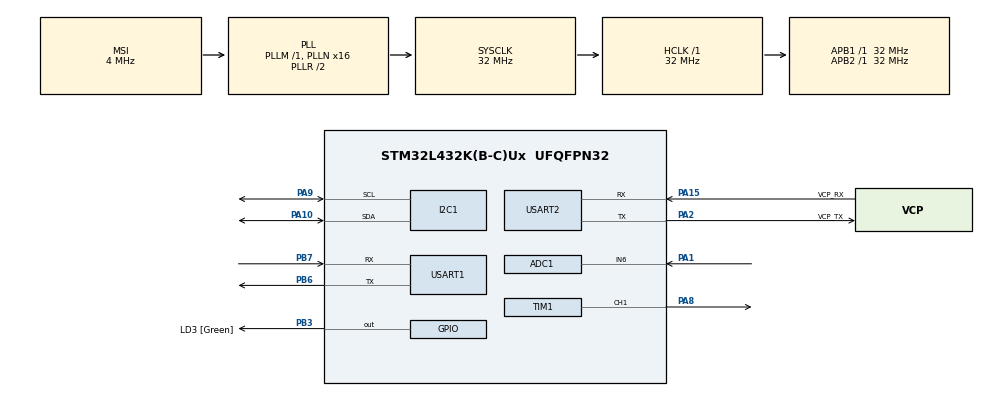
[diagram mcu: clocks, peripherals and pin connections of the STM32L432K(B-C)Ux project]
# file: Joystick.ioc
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ADC1.Channel-0\#ChannelRegularConversion=ADC_CHANNEL_6
ADC1.NbrOfConversionFlag=1
ADC1.OffsetNumber-0\#ChannelRegularConversion=ADC_OFFSET_NONE
ADC1.Rank-0\#ChannelRegularConversion=1
ADC1.SamplingTime-0\#ChannelRegularConversion=ADC_SAMPLETIME_2CYCLES_5
ADC1.master=1
Dma.Request0=USART1_RX
Dma.USART1_RX.0.Direction=DMA_PERIPH_TO_MEMORY
Dma.USART1_RX.0.Instance=DMA1_Channel5
Dma.USART1_RX.0.MemDataAlignment=DMA_MDATAALIGN_BYTE
Dma.USART1_RX.0.MemInc=DMA_MINC_ENABLE
Dma.USART1_RX.0.Mode=DMA_NORMAL
Dma.USART1_RX.0.PeriphDataAlignment=DMA_PDATAALIGN_BYTE
Dma.USART1_RX.0.PeriphInc=DMA_PINC_DISABLE
Dma.USART1_RX.0.Priority=DMA_PRIORITY_HIGH
I2C1.Timing=0x00B07CB4
Mcu.Family=STM32L4
Mcu.Name=STM32L432K(B-C)Ux
Mcu.Package=UFQFPN32
NVIC.DMA1_Channel5_IRQn=true\:0\:0\:false\:false\:true\:false\:true\:true
NVIC.PriorityGroup=NVIC_PRIORITYGROUP_4
NVIC.USART1_IRQn=true\:0\:0\:false\:false\:true\:true\:true\:true
PA0.GPIO_Label=MCO [High speed clock in]
PA0.Mode=HSE-External-Clock-Source-for-LittleOrca
PA0.Signal=RCC_CK_IN
PA1.Signal=ADCx_IN6
PA10.Mode=I2C
PA10.Signal=I2C1_SDA
PA13\ (JTMS-SWDIO).GPIO_Label=SWDIO
PA13\ (JTMS-SWDIO).Mode=Serial_Wire
PA13\ (JTMS-SWDIO).Signal=SYS_JTMS-SWDIO
PA14\ (JTCK-SWCLK).GPIO_Label=SWCLK
PA14\ (JTCK-SWCLK).Mode=Serial_Wire
PA14\ (JTCK-SWCLK).Signal=SYS_JTCK-SWCLK
PA15\ (JTDI).GPIO_Label=VCP_RX
PA15\ (JTDI).Mode=Asynchronous
PA15\ (JTDI).Signal=USART2_RX
PA2.GPIO_Label=VCP_TX
PA2.Mode=Asynchronous
PA2.Signal=USART2_TX
PA8.Signal=S_TIM1_CH1
PA9.Mode=I2C
PA9.Signal=I2C1_SCL
PB3\ (JTDO-TRACESWO).GPIO_Label=LD3 [Green]
PB3\ (JTDO-TRACESWO).Signal=GPIO_Output
PB6.Mode=Asynchronous
PB6.Signal=USART1_TX
PB7.Mode=Asynchronous
PB7.Signal=USART1_RX
PC14-OSC32_IN\ (PC14).Mode=LSE-External-Oscillator
PC14-OSC32_IN\ (PC14).Signal=RCC_OSC32_IN
PC15-OSC32_OUT\ (PC15).Mode=LSE-External-Oscillator
PC15-OSC32_OUT\ (PC15).Signal=RCC_OSC32_OUT
ProjectManager.HeapSize=0x200
ProjectManager.StackSize=0x400
ProjectManager.TargetToolchain=STM32CubeIDE
RCC.ADCFreq_Value=64000000
RCC.AHBFreq_Value=32000000
RCC.APB1Freq_Value=32000000
RCC.APB1TimFreq_Value=32000000
RCC.APB2Freq_Value=32000000
RCC.APB2TimFreq_Value=32000000
RCC.CortexFreq_Value=32000000
RCC.HCLKFreq_Value=32000000
RCC.HSE_VALUE=8000000
RCC.HSI16_VALUE=16000000
RCC.HSI48_VALUE=48000000
RCC.HSI_VALUE=16000000
RCC.MSI_VALUE=4000000
RCC.PLLMUL=RCC_PLLMUL_4
RCC.PLLN=16
RCC.PLLSAI1N=32
RCC.SYSCLKFreq_VALUE=32000000
RCC.SYSCLKSource=RCC_SYSCLKSOURCE_PLLCLK
RCC.USBFreq_Value=64000000
RCC.VCOOutputFreq_Value=64000000
SH.ADCx_IN6.0=ADC1_IN6,IN6-Single-Ended
SH.S_TIM1_CH1.0=TIM1_CH1,PWM Generation1 CH1
TIM1.Channel-PWM\ Generation1\ CH1=TIM_CHANNEL_1
TIM1.Period=1000
TIM1.Prescaler=84
USART1.VirtualMode-Asynchronous=VM_ASYNC
USART2.VirtualMode-Asynchronous=VM_ASYNC
board=NUCLEO-L432KC

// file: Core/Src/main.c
/* USER CODE BEGIN Header */
/**
 ******************************************************************************
 * @file           : main.c
 * @brief          : Main program body
 ******************************************************************************
 * @attention
 *
 * Copyright (c) 2025 STMicroelectronics.
 * All rights reserved.
 *
 * This software is licensed under terms that can be found in the LICENSE file
 * in the root directory of this software component.
 * If no LICENSE file comes with this software, it is provided AS-IS.
 *
 ******************************************************************************
 */
/* USER CODE END Header */
#include "main.h"

/* USER CODE BEGIN Includes */
#include <stdio.h>
#include <string.h>
#include <stdlib.h>
#include "ssd1306.h"
#include "math.h"
/* USER CODE END Includes */

/* USER CODE BEGIN PD */
#ifdef SSD1306_INCLUDE_FONT_11x18
extern const SSD1306_Font_t Font_11x18;
#endif

#ifdef SSD1306_INCLUDE_FONT_7x10
extern const SSD1306_Font_t Font_7x10;
#endif

#ifdef SSD1306_INCLUDE_FONT_6x8
extern const SSD1306_Font_t Font_6x8;
#endif

#define IMU_CTRL_REG1_A 	0x20 /*IMU control register address*/
#define IMU_OUT_X_L_A		0x28 /*IMU X-axis acceleration data*/
#define IMU_I2C_ADDR_R 		0x33 /*8 bit IMU device I2C read address*/
#define IMU_I2C_ADDR_W		0x32 /*8 bit IMU device I2C write address*/
#define IMU_I2C_ADDR		0x19 /*7 bit IMU device I2C address*/

#define	PI					3.14
#define FILTER_SIZE			5
#define RX_BUFFER_SIZE		6
/* USER CODE END PD */

ADC_HandleTypeDef hadc1;

I2C_HandleTypeDef hi2c1;

TIM_HandleTypeDef htim1;

UART_HandleTypeDef huart1;
UART_HandleTypeDef huart2;
DMA_HandleTypeDef hdma_usart1_rx;

/* USER CODE BEGIN PV */

HAL_StatusTypeDef ret;
uint8_t Rx_Buffer[RX_BUFFER_SIZE];

typedef struct {
	uint8_t acc_raw[6];
	int16_t ax_raw;
	int16_t ay_raw;
	int16_t az_raw;
	float ax;
	float ay;
	float az;
} IMU_data;

typedef struct {
	float roll;
	float pitch;
} Orientation;

typedef struct {
	float buffer[FILTER_SIZE];
	uint8_t index;
	float sum;
} MovingAverage;

int vol = 0;

/* USER CODE END PV */

void SystemClock_Config(void);
static void MX_GPIO_Init(void);
static void MX_DMA_Init(void);
static void MX_USART2_UART_Init(void);
static void MX_ADC1_Init(void);
static void MX_I2C1_Init(void);
static void MX_USART1_UART_Init(void);
static void MX_TIM1_Init(void);
/* USER CODE BEGIN PFP */
void IMU_Init();
void read_IMU(IMU_data *data);
void read_FSR(uint32_t *data);
void BT_Transmit(char *str);
Orientation get_Orientation(IMU_data data);
uint8_t get_Stop(uint32_t data);
void Display_screen(int fpitch, int froll, uint8_t stop);
void MovingAverage_Init(MovingAverage *filter);
int MovingAverage_Update(MovingAverage *filter, float new_value);
/* USER CODE END PFP */

/* USER CODE BEGIN 0 */

// Callback function of UART interrupt
// MODIFIES: pitch, roll, state
// BT message format: P<ppp>,R<rrr>,S<s>
// where each p, r, and s is one digit in ASCII
// the first digit of pitch and roll indicates plus or minus, '1' for negative values
void HAL_UART_RxCpltCallback(UART_HandleTypeDef *huart) {
	//HAL_UART_DMAPause(huart);
	if (huart->Instance == USART1) {
		//Find the starting character: 'S'
		int index = 0;
		for (int i = 0; i < RX_BUFFER_SIZE; i++)
		{
			if (Rx_Buffer[i] == 'S')
				index = i;
		}
		vol = (Rx_Buffer[(2 + index) % RX_BUFFER_SIZE] - '0') * 1000
			+ (Rx_Buffer[(3 + index) % RX_BUFFER_SIZE] - '0') * 100
			+ (Rx_Buffer[(4 + index) % RX_BUFFER_SIZE] - '0') * 10
			+ (Rx_Buffer[(5 + index) % RX_BUFFER_SIZE] - '0');
	}
	//HAL_UART_DMAResume(huart);
	//memset(Rx_Buffer, 0, RX_BUFFER_SIZE);
	HAL_UART_Receive_DMA(&huart1, Rx_Buffer, RX_BUFFER_SIZE);
}

/* USER CODE END 0 */

int main(void)
{

  /* USER CODE BEGIN 1 */
	IMU_data imu_data;
	uint32_t FSR_data;
  	char bt_str[20] = { 0 }; /*Bluetooth transmission buffer*/
	Orientation current_ore; /*Current pitch and roll*/
	uint8_t stop = 0; /*Immediate stop*/
	//uint16_t duty_cycle = 0; /*Duty cycle of vibration motor PWM*/
	MovingAverage pitch_filter;
	MovingAverage roll_filter;
	char Pa = '\0', Pb = '\0', Pc = '\0';
	char Ra = '\0', Rb = '\0', Rc = '\0';
	//int loop_count = 0;
  /* USER CODE END 1 */

  /* MCU Configuration--------------------------------------------------------*/

  /* Reset of all peripherals, Initializes the Flash interface and the Systick. */
  HAL_Init();

  /* Configure the system clock */
  SystemClock_Config();

  /* Initialize all configured peripherals */
  MX_GPIO_Init();
  MX_DMA_Init();
  MX_USART2_UART_Init();
  MX_ADC1_Init();
  MX_I2C1_Init();
  MX_USART1_UART_Init();
  MX_TIM1_Init();
  /* USER CODE BEGIN 2 */
	ssd1306_Init();
	ssd1306_Fill(Black);
	IMU_Init();
	MovingAverage_Init(&pitch_filter);
	MovingAverage_Init(&roll_filter);
	HAL_UART_Receive_DMA(&huart1, Rx_Buffer, RX_BUFFER_SIZE);
  /* USER CODE END 2 */

  /* Infinite loop */
	while (1) {

    /* USER CODE BEGIN 3 */
		//loop_count = (loop_count + 1) % 3;
		read_IMU(&imu_data);
		current_ore = get_Orientation(imu_data);
		int Fpitch = MovingAverage_Update(&pitch_filter, current_ore.pitch);
		int Froll = MovingAverage_Update(&roll_filter, current_ore.roll);
		read_FSR(&FSR_data);
		stop = get_Stop(FSR_data);

		Pb = (abs(Fpitch) / 10) + '0';
		Pc = (abs(Fpitch) % 10) + '0';
		if (Fpitch >= 0)
			Pa = '0';
		else
			Pa = '1';

		Rb = (abs(Froll) / 10) + '0';
		Rc = (abs(Froll) % 10) + '0';
		if (Froll >= 0)
			Ra = '0';
		else
			Ra = '1';

		//printf("%d,%d,%d\r\n", Fpitch, Froll, stop);
		//if (loop_count == 0)
		//{
		//printf("P%c%c%c,R%c%c%c,S%d\n\r", Pa, Pb, Pc, Ra, Rb, Rc, stop);

		sprintf(bt_str, "P%c%c%c,R%c%c%c,S%d", Pa, Pb, Pc, Ra, Rb, Rc, stop);
		BT_Transmit(bt_str);
		//}

		__HAL_TIM_SET_COMPARE(&htim1, TIM_CHANNEL_1, vol);
		//duty_cycle += 100;
		//if (duty_cycle == 8000)
		//	duty_cycle = 0;

		Display_screen(Fpitch, Froll, stop);
		HAL_Delay(10);
	}
  /* USER CODE END 3 */
}

void SystemClock_Config(void)
{
  RCC_OscInitTypeDef RCC_OscInitStruct = {0};
  RCC_ClkInitTypeDef RCC_ClkInitStruct = {0};

  /** Configure the main internal regulator output voltage
  */
  if (HAL_PWREx_ControlVoltageScaling(PWR_REGULATOR_VOLTAGE_SCALE1) != HAL_OK)
  {
    Error_Handler();
  }

  /** Configure LSE Drive Capability
  */
  HAL_PWR_EnableBkUpAccess();
  __HAL_RCC_LSEDRIVE_CONFIG(RCC_LSEDRIVE_LOW);

  /** Initializes the RCC Oscillators according to the specified parameters
  * in the RCC_OscInitTypeDef structure.
  */
  RCC_OscInitStruct.OscillatorType = RCC_OSCILLATORTYPE_LSE|RCC_OSCILLATORTYPE_MSI;
  RCC_OscInitStruct.LSEState = RCC_LSE_ON;
  RCC_OscInitStruct.MSIState = RCC_MSI_ON;
  RCC_OscInitStruct.MSICalibrationValue = 0;
  RCC_OscInitStruct.MSIClockRange = RCC_MSIRANGE_6;
  RCC_OscInitStruct.PLL.PLLState = RCC_PLL_ON;
  RCC_OscInitStruct.PLL.PLLSource = RCC_PLLSOURCE_MSI;
  RCC_OscInitStruct.PLL.PLLM = 1;
  RCC_OscInitStruct.PLL.PLLN = 16;
  RCC_OscInitStruct.PLL.PLLP = RCC_PLLP_DIV7;
  RCC_OscInitStruct.PLL.PLLQ = RCC_PLLQ_DIV2;
  RCC_OscInitStruct.PLL.PLLR = RCC_PLLR_DIV2;
  if (HAL_RCC_OscConfig(&RCC_OscInitStruct) != HAL_OK)
  {
    Error_Handler();
  }

  /** Initializes the CPU, AHB and APB buses clocks
  */
  RCC_ClkInitStruct.ClockType = RCC_CLOCKTYPE_HCLK|RCC_CLOCKTYPE_SYSCLK
                              |RCC_CLOCKTYPE_PCLK1|RCC_CLOCKTYPE_PCLK2;
  RCC_ClkInitStruct.SYSCLKSource = RCC_SYSCLKSOURCE_PLLCLK;
  RCC_ClkInitStruct.AHBCLKDivider = RCC_SYSCLK_DIV1;
  RCC_ClkInitStruct.APB1CLKDivider = RCC_HCLK_DIV1;
  RCC_ClkInitStruct.APB2CLKDivider = RCC_HCLK_DIV1;

  if (HAL_RCC_ClockConfig(&RCC_ClkInitStruct, FLASH_LATENCY_1) != HAL_OK)
  {
    Error_Handler();
  }

  /** Enable MSI Auto calibration
  */
  HAL_RCCEx_EnableMSIPLLMode();
}

static void MX_ADC1_Init(void)
{

  ADC_ChannelConfTypeDef sConfig = {0};

  /** Common config
  */
  hadc1.Instance = ADC1;
  hadc1.Init.ClockPrescaler = ADC_CLOCK_ASYNC_DIV1;
  hadc1.Init.Resolution = ADC_RESOLUTION_12B;
  hadc1.Init.DataAlign = ADC_DATAALIGN_RIGHT;
  hadc1.Init.ScanConvMode = ADC_SCAN_DISABLE;
  hadc1.Init.EOCSelection = ADC_EOC_SINGLE_CONV;
  hadc1.Init.LowPowerAutoWait = DISABLE;
  hadc1.Init.ContinuousConvMode = DISABLE;
  hadc1.Init.NbrOfConversion = 1;
  hadc1.Init.DiscontinuousConvMode = DISABLE;
  hadc1.Init.ExternalTrigConv = ADC_SOFTWARE_START;
  hadc1.Init.ExternalTrigConvEdge = ADC_EXTERNALTRIGCONVEDGE_NONE;
  hadc1.Init.DMAContinuousRequests = DISABLE;
  hadc1.Init.Overrun = ADC_OVR_DATA_PRESERVED;
  hadc1.Init.OversamplingMode = DISABLE;
  if (HAL_ADC_Init(&hadc1) != HAL_OK)
  {
    Error_Handler();
  }

  /** Configure Regular Channel
  */
  sConfig.Channel = ADC_CHANNEL_6;
  sConfig.Rank = ADC_REGULAR_RANK_1;
  sConfig.SamplingTime = ADC_SAMPLETIME_2CYCLES_5;
  sConfig.SingleDiff = ADC_SINGLE_ENDED;
  sConfig.OffsetNumber = ADC_OFFSET_NONE;
  sConfig.Offset = 0;
  if (HAL_ADC_ConfigChannel(&hadc1, &sConfig) != HAL_OK)
  {
    Error_Handler();
  }

}

static void MX_I2C1_Init(void)
{

  hi2c1.Instance = I2C1;
  hi2c1.Init.Timing = 0x00B07CB4;
  hi2c1.Init.OwnAddress1 = 0;
  hi2c1.Init.AddressingMode = I2C_ADDRESSINGMODE_7BIT;
  hi2c1.Init.DualAddressMode = I2C_DUALADDRESS_DISABLE;
  hi2c1.Init.OwnAddress2 = 0;
  hi2c1.Init.OwnAddress2Masks = I2C_OA2_NOMASK;
  hi2c1.Init.GeneralCallMode = I2C_GENERALCALL_DISABLE;
  hi2c1.Init.NoStretchMode = I2C_NOSTRETCH_DISABLE;
  if (HAL_I2C_Init(&hi2c1) != HAL_OK)
  {
    Error_Handler();
  }

  /** Configure Analogue filter
  */
  if (HAL_I2CEx_ConfigAnalogFilter(&hi2c1, I2C_ANALOGFILTER_ENABLE) != HAL_OK)
  {
    Error_Handler();
  }

  /** Configure Digital filter
  */
  if (HAL_I2CEx_ConfigDigitalFilter(&hi2c1, 0) != HAL_OK)
  {
    Error_Handler();
  }

}

static void MX_TIM1_Init(void)
{

  TIM_MasterConfigTypeDef sMasterConfig = {0};
  TIM_OC_InitTypeDef sConfigOC = {0};
  TIM_BreakDeadTimeConfigTypeDef sBreakDeadTimeConfig = {0};

  htim1.Instance = TIM1;
  htim1.Init.Prescaler = 84;
  htim1.Init.CounterMode = TIM_COUNTERMODE_UP;
  htim1.Init.Period = 1000;
  htim1.Init.ClockDivision = TIM_CLOCKDIVISION_DIV1;
  htim1.Init.RepetitionCounter = 0;
  htim1.Init.AutoReloadPreload = TIM_AUTORELOAD_PRELOAD_DISABLE;
  if (HAL_TIM_PWM_Init(&htim1) != HAL_OK)
  {
    Error_Handler();
  }
  sMasterConfig.MasterOutputTrigger = TIM_TRGO_RESET;
  sMasterConfig.MasterOutputTrigger2 = TIM_TRGO2_RESET;
  sMasterConfig.MasterSlaveMode = TIM_MASTERSLAVEMODE_DISABLE;
  if (HAL_TIMEx_MasterConfigSynchronization(&htim1, &sMasterConfig) != HAL_OK)
  {
    Error_Handler();
  }
  sConfigOC.OCMode = TIM_OCMODE_PWM1;
  sConfigOC.Pulse = 0;
  sConfigOC.OCPolarity = TIM_OCPOLARITY_HIGH;
  sConfigOC.OCNPolarity = TIM_OCNPOLARITY_HIGH;
  sConfigOC.OCFastMode = TIM_OCFAST_DISABLE;
  sConfigOC.OCIdleState = TIM_OCIDLESTATE_RESET;
  sConfigOC.OCNIdleState = TIM_OCNIDLESTATE_RESET;
  if (HAL_TIM_PWM_ConfigChannel(&htim1, &sConfigOC, TIM_CHANNEL_1) != HAL_OK)
  {
    Error_Handler();
  }
  sBreakDeadTimeConfig.OffStateRunMode = TIM_OSSR_DISABLE;
  sBreakDeadTimeConfig.OffStateIDLEMode = TIM_OSSI_DISABLE;
  sBreakDeadTimeConfig.LockLevel = TIM_LOCKLEVEL_OFF;
  sBreakDeadTimeConfig.DeadTime = 0;
  sBreakDeadTimeConfig.BreakState = TIM_BREAK_DISABLE;
  sBreakDeadTimeConfig.BreakPolarity = TIM_BREAKPOLARITY_HIGH;
  sBreakDeadTimeConfig.BreakFilter = 0;
  sBreakDeadTimeConfig.Break2State = TIM_BREAK2_DISABLE;
  sBreakDeadTimeConfig.Break2Polarity = TIM_BREAK2POLARITY_HIGH;
  sBreakDeadTimeConfig.Break2Filter = 0;
  sBreakDeadTimeConfig.AutomaticOutput = TIM_AUTOMATICOUTPUT_DISABLE;
  if (HAL_TIMEx_ConfigBreakDeadTime(&htim1, &sBreakDeadTimeConfig) != HAL_OK)
  {
    Error_Handler();
  }
  /* USER CODE BEGIN TIM1_Init 2 */
  HAL_TIM_PWM_Start(&htim1, TIM_CHANNEL_1);
  /* USER CODE END TIM1_Init 2 */
  HAL_TIM_MspPostInit(&htim1);

}

static void MX_USART1_UART_Init(void)
{

  huart1.Instance = USART1;
  huart1.Init.BaudRate = 115200;
  huart1.Init.WordLength = UART_WORDLENGTH_8B;
  huart1.Init.StopBits = UART_STOPBITS_1;
  huart1.Init.Parity = UART_PARITY_NONE;
  huart1.Init.Mode = UART_MODE_TX_RX;
  huart1.Init.HwFlowCtl = UART_HWCONTROL_NONE;
  huart1.Init.OverSampling = UART_OVERSAMPLING_16;
  huart1.Init.OneBitSampling = UART_ONE_BIT_SAMPLE_DISABLE;
  huart1.AdvancedInit.AdvFeatureInit = UART_ADVFEATURE_NO_INIT;
  if (HAL_UART_Init(&huart1) != HAL_OK)
  {
    Error_Handler();
  }

}

static void MX_USART2_UART_Init(void)
{

  huart2.Instance = USART2;
  huart2.Init.BaudRate = 115200;
  huart2.Init.WordLength = UART_WORDLENGTH_8B;
  huart2.Init.StopBits = UART_STOPBITS_1;
  huart2.Init.Parity = UART_PARITY_NONE;
  huart2.Init.Mode = UART_MODE_TX_RX;
  huart2.Init.HwFlowCtl = UART_HWCONTROL_NONE;
  huart2.Init.OverSampling = UART_OVERSAMPLING_16;
  huart2.Init.OneBitSampling = UART_ONE_BIT_SAMPLE_DISABLE;
  huart2.AdvancedInit.AdvFeatureInit = UART_ADVFEATURE_NO_INIT;
  if (HAL_UART_Init(&huart2) != HAL_OK)
  {
    Error_Handler();
  }

}

static void MX_DMA_Init(void)
{

  /* DMA controller clock enable */
  __HAL_RCC_DMA1_CLK_ENABLE();

  /* DMA interrupt init */
  /* DMA1_Channel5_IRQn interrupt configuration */
  HAL_NVIC_SetPriority(DMA1_Channel5_IRQn, 0, 0);
  HAL_NVIC_EnableIRQ(DMA1_Channel5_IRQn);

}

static void MX_GPIO_Init(void)
{
  GPIO_InitTypeDef GPIO_InitStruct = {0};

  /* GPIO Ports Clock Enable */
  __HAL_RCC_GPIOC_CLK_ENABLE();
  __HAL_RCC_GPIOA_CLK_ENABLE();
  __HAL_RCC_GPIOB_CLK_ENABLE();

  /*Configure GPIO pin Output Level */
  HAL_GPIO_WritePin(LD3_GPIO_Port, LD3_Pin, GPIO_PIN_RESET);

  /*Configure GPIO pin : LD3_Pin */
  GPIO_InitStruct.Pin = LD3_Pin;
  GPIO_InitStruct.Mode = GPIO_MODE_OUTPUT_PP;
  GPIO_InitStruct.Pull = GPIO_NOPULL;
  GPIO_InitStruct.Speed = GPIO_SPEED_FREQ_LOW;
  HAL_GPIO_Init(LD3_GPIO_Port, &GPIO_InitStruct);

}

/* USER CODE BEGIN 4 */
#ifdef __GNUC__
#define PUTCHAR_PROTOTYPE int __io_putchar(int ch)
#else
#define PUTCHAR_PROTOTYPE int fputc(int ch, FILE *f)
#endif /* __GNUC__ */
PUTCHAR_PROTOTYPE {
	HAL_UART_Transmit(&huart2, (uint8_t*) &ch, 1, 0xFFFF);
	return ch;
}

void IMU_Init() {
	printf("Connecting to IMU ...\r \n");

	uint8_t config[2];
	config[0] = IMU_CTRL_REG1_A;
	config[1] = 0x97;

	ret = HAL_I2C_Master_Transmit(&hi2c1,
	IMU_I2C_ADDR_W, config, 2,
	HAL_MAX_DELAY);

	if (ret != HAL_OK) {
		printf("Failure to connect to IMU! Please check wiring. \r \n");
	}
	printf("IMU connected!\r \n");

}

//REQUIRES: None
//MODIFIES: data
//EFFECTS: Read the accelerometer data from the GY-511 module, and stores the results in data.
void read_IMU(IMU_data *data) {
	//Read from IMU register OUT_X_L_A with auto increment for 6 bytes of data, stored in acc_raw buffer
	ret = HAL_I2C_Mem_Read(&hi2c1,
						IMU_I2C_ADDR << 1,
						IMU_OUT_X_L_A | 0x80,
						I2C_MEMADD_SIZE_8BIT, data->acc_raw, 6,
						HAL_MAX_DELAY);
/*	if (ret != HAL_OK)
	{
		while(1);
	}*/

	//Update the ax_raw, ay_raw, and az_raw
	data->ax_raw = (int16_t) (data->acc_raw[0] | data->acc_raw[1] << 8);
	data->ay_raw = (int16_t) (data->acc_raw[2] | data->acc_raw[3] << 8);
	data->az_raw = (int16_t) (data->acc_raw[4] | data->acc_raw[5] << 8);

	//Convert it to be in unit g
	data->ax = data->ax_raw * 2.0 / 32767.0;
	data->ay = data->ay_raw * 2.0 / 32767.0;
	data->az = data->az_raw * 2.0 / 32767.0;
}

//REQUIRES: None
//MODIFIES: None
//EFFECTS: 	From the given IMU_data, compute the roll and pitch of the sensor.
Orientation get_Orientation(IMU_data data) {
	Orientation ore;
	float AccX = data.ax * 9.81;
	float AccY = data.ay * 9.81;
	float AccZ = data.az * 9.81;
	ore.pitch = (180 * atan(AccX / sqrt(AccY * AccY + AccZ * AccZ)) / PI);
	ore.roll = (180 * atan(AccY / sqrt(AccX * AccX + AccZ * AccZ)) / PI);
	return ore;
}

uint8_t get_Stop(uint32_t data) {
	if (data > 3000)
		return 1;
	else
		return 0;
}

void read_FSR(uint32_t *data) {
	HAL_ADC_Start(&hadc1);
	HAL_ADC_PollForConversion(&hadc1, 0xFFFFFFFF);
	*data = HAL_ADC_GetValue(&hadc1);
}

void BT_Transmit(char *str) {
	HAL_UART_Transmit(&huart1, (uint8_t*) str, strlen(str), HAL_MAX_DELAY);
}

void Display_screen(int fpitch, int froll, uint8_t stop) {
	uint8_t y = 0;
	uint8_t x = 0;
	char pitch[10] = { '\0' };
	char roll[10] = { '\0' };
	char state[10] = { '\0' };
	sprintf(pitch, "P=%d", fpitch);
	sprintf(roll, "R=%d", froll);
	sprintf(state, "S=%d", stop);

	//display pitch on the first line
	ssd1306_SetCursor(2, y);
	ssd1306_WriteString((char*) pitch, Font_11x18, White);
	//clear the remaining line
	x = strlen(pitch) * 11 + 2;
	ssd1306_SetCursor(x, y);
	ssd1306_WriteString(" ", Font_11x18, White);

	//display roll on the second line
	y += 18;
	ssd1306_SetCursor(2, y);
	ssd1306_WriteString((char*) roll, Font_11x18, White);
	//clear the remaining line
	x = strlen(roll) * 11 + 2;
	ssd1306_SetCursor(x, y);
	ssd1306_WriteString(" ", Font_11x18, White);

	//display state on the third line
	y += 18;
	ssd1306_SetCursor(2, y);
	ssd1306_WriteString((char*) state, Font_11x18, White);
	ssd1306_UpdateScreen();
}

void MovingAverage_Init(MovingAverage *filter) {
	for (int i = 0; i < FILTER_SIZE; i++)
		filter->buffer[i] = 0.0;
	filter->index = 0;
	filter->sum = 0.0;
}

int MovingAverage_Update(MovingAverage *filter, float new_value) {
	filter->sum = 0;
	filter->buffer[filter->index] = new_value;
	filter->index = (filter->index + 1) % FILTER_SIZE;
	for (int i = 0; i < FILTER_SIZE; i++)
		filter->sum += filter->buffer[i];
	return (int) (filter->sum / FILTER_SIZE);
}
/* USER CODE END 4 */

void Error_Handler(void)
{
	__disable_irq();
	while (1) {
	}
}
